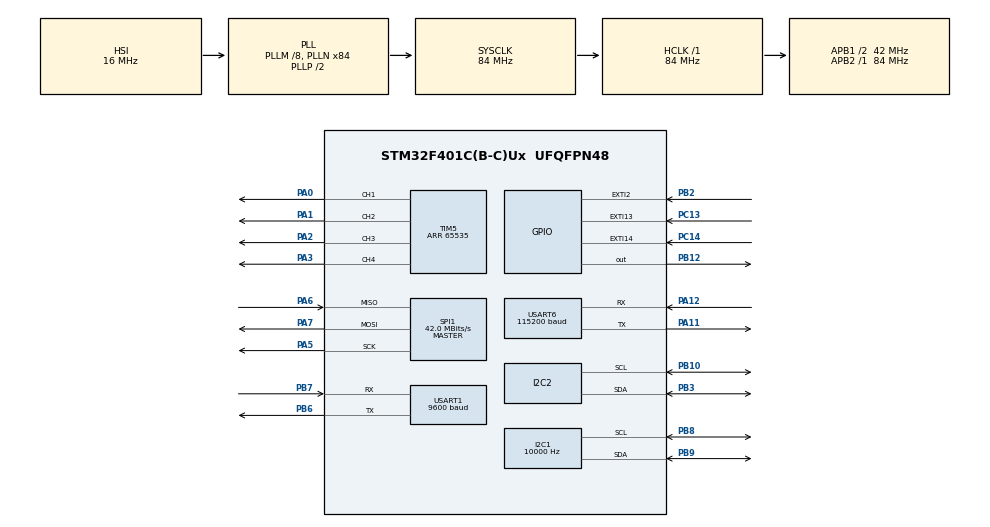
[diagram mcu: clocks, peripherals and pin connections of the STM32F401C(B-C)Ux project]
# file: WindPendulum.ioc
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Dma.Request0=USART1_RX
Dma.Request1=USART6_RX
Dma.USART1_RX.0.Direction=DMA_PERIPH_TO_MEMORY
Dma.USART1_RX.0.FIFOMode=DMA_FIFOMODE_DISABLE
Dma.USART1_RX.0.Instance=DMA2_Stream2
Dma.USART1_RX.0.MemDataAlignment=DMA_MDATAALIGN_BYTE
Dma.USART1_RX.0.MemInc=DMA_MINC_ENABLE
Dma.USART1_RX.0.Mode=DMA_NORMAL
Dma.USART1_RX.0.PeriphDataAlignment=DMA_PDATAALIGN_BYTE
Dma.USART1_RX.0.PeriphInc=DMA_PINC_DISABLE
Dma.USART1_RX.0.Priority=DMA_PRIORITY_LOW
Dma.USART6_RX.1.Direction=DMA_PERIPH_TO_MEMORY
Dma.USART6_RX.1.FIFOMode=DMA_FIFOMODE_DISABLE
Dma.USART6_RX.1.Instance=DMA2_Stream1
Dma.USART6_RX.1.MemDataAlignment=DMA_MDATAALIGN_BYTE
Dma.USART6_RX.1.MemInc=DMA_MINC_ENABLE
Dma.USART6_RX.1.Mode=DMA_NORMAL
Dma.USART6_RX.1.PeriphDataAlignment=DMA_PDATAALIGN_BYTE
Dma.USART6_RX.1.PeriphInc=DMA_PINC_DISABLE
Dma.USART6_RX.1.Priority=DMA_PRIORITY_MEDIUM
FREERTOS.Mutexes01=pidStatusMutex,Dynamic,NULL
FREERTOS.Queues01=btUartRxQueue,1,64,1,Dynamic,NULL,NULL;sensorUartRxQueue,1,64,1,Dynamic,NULL,NULL
FREERTOS.Tasks01=logicTask,24,128,StartLogicTask,Default,NULL,Dynamic,NULL,NULL;pidTask,24,256,StartPIDTask,Default,NULL,Dynamic,NULL,NULL;displayTask,8,512,StartDisplayTask,Default,NULL,Dynamic,NULL,NULL;sampleTask,55,512,StartSampleTask,Default,NULL,Dynamic,NULL,NULL;uartHandlerTask,8,512,StartUartHandlerTask,Default,NULL,Dynamic,NULL,NULL;periodTask,24,128,StartPeriodControlTask,Default,NULL,Dynamic,NULL,NULL
FREERTOS.configENABLE_FPU=1
I2C1.ClockSpeed=10000
I2C1.I2C_Mode=I2C_Standard
I2C2.I2C_Mode=I2C_Fast
Mcu.Family=STM32F4
Mcu.Name=STM32F401C(B-C)Ux
Mcu.Package=UFQFPN48
NVIC.DMA2_Stream1_IRQn=true\:5\:0\:false\:false\:true\:true\:false\:true
NVIC.DMA2_Stream2_IRQn=true\:5\:0\:false\:false\:true\:true\:false\:true
NVIC.EXTI15_10_IRQn=true\:5\:0\:false\:false\:true\:true\:true\:true
NVIC.EXTI2_IRQn=true\:5\:0\:false\:false\:true\:true\:true\:true
NVIC.PriorityGroup=NVIC_PRIORITYGROUP_4
NVIC.TIM1_TRG_COM_TIM11_IRQn=true\:0\:0\:false\:false\:true\:false\:false\:true
NVIC.TimeBase=TIM1_TRG_COM_TIM11_IRQn
NVIC.TimeBaseIP=TIM11
NVIC.USART1_IRQn=true\:5\:0\:false\:false\:true\:true\:true\:true
NVIC.USART6_IRQn=true\:5\:0\:false\:false\:true\:true\:true\:true
PA0-WKUP.Signal=S_TIM5_CH1
PA1.Signal=S_TIM5_CH2
PA11.Mode=Asynchronous
PA11.Signal=USART6_TX
PA12.Mode=Asynchronous
PA12.Signal=USART6_RX
PA13.Mode=Serial_Wire
PA13.Signal=SYS_JTMS-SWDIO
PA14.Mode=Serial_Wire
PA14.Signal=SYS_JTCK-SWCLK
PA2.Signal=S_TIM5_CH3
PA3.Signal=S_TIM5_CH4
PA5.Mode=Full_Duplex_Master
PA5.Signal=SPI1_SCK
PA6.Mode=Full_Duplex_Master
PA6.Signal=SPI1_MISO
PA7.Mode=Full_Duplex_Master
PA7.Signal=SPI1_MOSI
PB10.Mode=I2C
PB10.Signal=I2C2_SCL
PB12.Signal=GPIO_Output
PB2.GPIO_PuPd=GPIO_PULLUP
PB2.Signal=GPXTI2
PB3.Mode=I2C
PB3.Signal=I2C2_SDA
PB6.Mode=Asynchronous
PB6.Signal=USART1_TX
PB7.Mode=Asynchronous
PB7.Signal=USART1_RX
PB8.Mode=I2C
PB8.Signal=I2C1_SCL
PB9.Mode=I2C
PB9.Signal=I2C1_SDA
PC13-ANTI_TAMP.GPIO_PuPd=GPIO_PULLUP
PC13-ANTI_TAMP.Signal=GPXTI13
PC14-OSC32_IN.GPIO_PuPd=GPIO_PULLUP
PC14-OSC32_IN.Signal=GPXTI14
PH0\ -\ OSC_IN.Mode=HSE-External-Oscillator
PH0\ -\ OSC_IN.Signal=RCC_OSC_IN
PH1\ -\ OSC_OUT.Mode=HSE-External-Oscillator
PH1\ -\ OSC_OUT.Signal=RCC_OSC_OUT
ProjectManager.HeapSize=0x200
ProjectManager.StackSize=0x400
ProjectManager.TargetToolchain=STM32CubeIDE
RCC.48MHZClocksFreq_Value=42000000
RCC.AHBFreq_Value=84000000
RCC.APB1CLKDivider=RCC_HCLK_DIV2
RCC.APB1Freq_Value=42000000
RCC.APB1TimFreq_Value=84000000
RCC.APB2Freq_Value=84000000
RCC.APB2TimFreq_Value=84000000
RCC.CortexFreq_Value=84000000
RCC.HCLKFreq_Value=84000000
RCC.HSE_VALUE=25000000
RCC.HSI_VALUE=16000000
RCC.LSE_VALUE=32768
RCC.PLLM=8
RCC.PLLN=84
RCC.SYSCLKFreq_VALUE=84000000
RCC.SYSCLKSource=RCC_SYSCLKSOURCE_PLLCLK
RCC.VCOOutputFreq_Value=168000000
SH.S_TIM5_CH1.0=TIM5_CH1,PWM Generation1 CH1
SH.S_TIM5_CH2.0=TIM5_CH2,PWM Generation2 CH2
SH.S_TIM5_CH3.0=TIM5_CH3,PWM Generation3 CH3
SH.S_TIM5_CH4.0=TIM5_CH4,PWM Generation4 CH4
SPI1.CalculateBaudRate=42.0 MBits/s
SPI1.Direction=SPI_DIRECTION_2LINES
SPI1.Mode=SPI_MODE_MASTER
SPI1.VirtualType=VM_MASTER
TIM5.Channel-PWM\ Generation1\ CH1=TIM_CHANNEL_1
TIM5.Channel-PWM\ Generation2\ CH2=TIM_CHANNEL_2
TIM5.Channel-PWM\ Generation3\ CH3=TIM_CHANNEL_3
TIM5.Channel-PWM\ Generation4\ CH4=TIM_CHANNEL_4
TIM5.Period=65535
TIM5.Pulse-PWM\ Generation3\ CH3=0
TIM5.Pulse-PWM\ Generation4\ CH4=0
USART1.BaudRate=9600
USART1.VirtualMode=VM_ASYNC
USART6.BaudRate=115200
USART6.VirtualMode=VM_ASYNC
VP_FREERTOS_VS_CMSIS_V2.Mode=CMSIS_V2
VP_SYS_VS_tim11.Mode=TIM11
VP_TIM5_VS_ClockSourceINT.Mode=Internal
board=custom

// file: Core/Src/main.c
/* USER CODE BEGIN Header */
/**
  ******************************************************************************
  * @file           : main.c
  * @brief          : Main program body
  ******************************************************************************
  * @attention
  *
  * <h2><center>&copy; Copyright (c) 2021 STMicroelectronics.
  * All rights reserved.</center></h2>
  *
  * This software component is licensed by ST under Ultimate Liberty license
  * SLA0044, the "License"; You may not use this file except in compliance with
  * the License. You may obtain a copy of the License at:
  *                             www.st.com/SLA0044
  *
  ******************************************************************************
  */
/* USER CODE END Header */
#include "main.h"
#include "cmsis_os.h"

/* USER CODE BEGIN Includes */
#include "memory.h"
#include "stdio.h"
#include "math.h"

#include "stm32f4xx_hal_u8g2.h"
#include "mpu6050.h"
#include "pid.h"
/* USER CODE END Includes */

/* USER CODE BEGIN PTD */

typedef enum {
  Success, Failure
} UARTControlResult;

/* USER CODE END PTD */

/* USER CODE BEGIN PD */

#define MPU6050 0
#define GY955 1

#define SAMPLE_PROVIDER GY955 //角速度提供者

#define SEND_INFO 0 //是否向上位机发送状态信息

/* USER CODE END PD */

I2C_HandleTypeDef hi2c1;
I2C_HandleTypeDef hi2c2;

SPI_HandleTypeDef hspi1;

TIM_HandleTypeDef htim5;

UART_HandleTypeDef huart1;
UART_HandleTypeDef huart6;
DMA_HandleTypeDef hdma_usart1_rx;
DMA_HandleTypeDef hdma_usart6_rx;

/* Definitions for logicTask */
osThreadId_t logicTaskHandle;
const osThreadAttr_t logicTask_attributes = {
  .name = "logicTask",
  .stack_size = 128 * 4,
  .priority = (osPriority_t) osPriorityNormal,
};
/* Definitions for pidTask */
osThreadId_t pidTaskHandle;
const osThreadAttr_t pidTask_attributes = {
  .name = "pidTask",
  .stack_size = 256 * 4,
  .priority = (osPriority_t) osPriorityNormal,
};
/* Definitions for displayTask */
osThreadId_t displayTaskHandle;
const osThreadAttr_t displayTask_attributes = {
  .name = "displayTask",
  .stack_size = 512 * 4,
  .priority = (osPriority_t) osPriorityLow,
};
/* Definitions for sampleTask */
osThreadId_t sampleTaskHandle;
const osThreadAttr_t sampleTask_attributes = {
  .name = "sampleTask",
  .stack_size = 512 * 4,
  .priority = (osPriority_t) osPriorityRealtime7,
};
/* Definitions for uartHandlerTask */
osThreadId_t uartHandlerTaskHandle;
const osThreadAttr_t uartHandlerTask_attributes = {
  .name = "uartHandlerTask",
  .stack_size = 512 * 4,
  .priority = (osPriority_t) osPriorityLow,
};
/* Definitions for periodTask */
osThreadId_t periodTaskHandle;
const osThreadAttr_t periodTask_attributes = {
  .name = "periodTask",
  .stack_size = 128 * 4,
  .priority = (osPriority_t) osPriorityNormal,
};
/* Definitions for btUartRxQueue */
osMessageQueueId_t btUartRxQueueHandle;
const osMessageQueueAttr_t btUartRxQueue_attributes = {
  .name = "btUartRxQueue"
};
/* Definitions for sensorUartRxQueue */
osMessageQueueId_t sensorUartRxQueueHandle;
const osMessageQueueAttr_t sensorUartRxQueue_attributes = {
  .name = "sensorUartRxQueue"
};
/* Definitions for pidStatusMutex */
osMutexId_t pidStatusMutexHandle;
const osMutexAttr_t pidStatusMutex_attributes = {
  .name = "pidStatusMutex"
};
/* USER CODE BEGIN PV */
char sprintfBuffer[64];
char uart1RxBuffer[UART1_RX_BUFFER_SIZE];
char uart6RxBuffer[UART6_RX_BUFFER_SIZE];

u8g2_t u8g2;
static MPU6050_t mpu6050;
PIDController pidX = {
    .T = 0.1f,
    .Kp = 0.025f,
    .Ti = 0.8f,
    .Td = 0.075f,
    .limMax = 1.0f,
    .limMin = -1.0f,
    .limMaxInt = 0.5f,
    .limMinInt = -0.5f,
}, pidY;

float rotX, rotY;
float thetaX, thetaY;
float targetThetaX = .0f, targetThetaY = .0f;
float vPeekX = .0f, vPeekY = .0f;
float phiX = .0f, phiY = .0f;

/* USER CODE END PV */

void SystemClock_Config(void);
static void MX_GPIO_Init(void);
static void MX_DMA_Init(void);
static void MX_I2C1_Init(void);
static void MX_SPI1_Init(void);
static void MX_TIM5_Init(void);
static void MX_USART1_UART_Init(void);
static void MX_I2C2_Init(void);
static void MX_USART6_UART_Init(void);
void StartLogicTask(void *argument);
void StartPIDTask(void *argument);
void StartDisplayTask(void *argument);
void StartSampleTask(void *argument);
void StartUartHandlerTask(void *argument);
void StartPeriodControlTask(void *argument);

/* USER CODE BEGIN PFP */

void SetPIDParameters(float t, float kp, float ki, float kd) {
  pidX.T = pidY.T = t;
  pidX.Kp = pidY.Kp = kp;
  pidX.Ti = pidY.Ti = ki;
  pidX.Td = pidY.Td = kd;
}

/* USER CODE END PFP */

int main(void)
{

  /* MCU Configuration--------------------------------------------------------*/

  /* Reset of all peripherals, Initializes the Flash interface and the Systick. */
  HAL_Init();

  /* Configure the system clock */
  SystemClock_Config();

  /* Initialize all configured peripherals */
  MX_GPIO_Init();
  MX_DMA_Init();
  MX_I2C1_Init();
  MX_SPI1_Init();
  MX_TIM5_Init();
  MX_USART1_UART_Init();
  MX_I2C2_Init();
  MX_USART6_UART_Init();

  /* Init scheduler */
  osKernelInitialize();
  /* Create the mutex(es) */
  /* creation of pidStatusMutex */
  pidStatusMutexHandle = osMutexNew(&pidStatusMutex_attributes);

  /* Create the queue(s) */
  /* creation of btUartRxQueue */
  btUartRxQueueHandle = osMessageQueueNew (1, 64, &btUartRxQueue_attributes);

  /* creation of sensorUartRxQueue */
  sensorUartRxQueueHandle = osMessageQueueNew (1, 64, &sensorUartRxQueue_attributes);

  /* Create the thread(s) */
  /* creation of logicTask */
  logicTaskHandle = osThreadNew(StartLogicTask, NULL, &logicTask_attributes);

  /* creation of pidTask */
  pidTaskHandle = osThreadNew(StartPIDTask, NULL, &pidTask_attributes);

  /* creation of displayTask */
  displayTaskHandle = osThreadNew(StartDisplayTask, NULL, &displayTask_attributes);

  /* creation of sampleTask */
  sampleTaskHandle = osThreadNew(StartSampleTask, NULL, &sampleTask_attributes);

  /* creation of uartHandlerTask */
  uartHandlerTaskHandle = osThreadNew(StartUartHandlerTask, NULL, &uartHandlerTask_attributes);

  /* creation of periodTask */
  periodTaskHandle = osThreadNew(StartPeriodControlTask, NULL, &periodTask_attributes);

  /* Start scheduler */
  osKernelStart();

  /* We should never get here as control is now taken by the scheduler */
  /* Infinite loop */
  while (1) {

  }
}

void SystemClock_Config(void)
{
  RCC_OscInitTypeDef RCC_OscInitStruct = {0};
  RCC_ClkInitTypeDef RCC_ClkInitStruct = {0};

  /** Configure the main internal regulator output voltage
  */
  __HAL_RCC_PWR_CLK_ENABLE();
  __HAL_PWR_VOLTAGESCALING_CONFIG(PWR_REGULATOR_VOLTAGE_SCALE2);
  /** Initializes the RCC Oscillators according to the specified parameters
  * in the RCC_OscInitTypeDef structure.
  */
  RCC_OscInitStruct.OscillatorType = RCC_OSCILLATORTYPE_HSI;
  RCC_OscInitStruct.HSIState = RCC_HSI_ON;
  RCC_OscInitStruct.HSICalibrationValue = RCC_HSICALIBRATION_DEFAULT;
  RCC_OscInitStruct.PLL.PLLState = RCC_PLL_ON;
  RCC_OscInitStruct.PLL.PLLSource = RCC_PLLSOURCE_HSI;
  RCC_OscInitStruct.PLL.PLLM = 8;
  RCC_OscInitStruct.PLL.PLLN = 84;
  RCC_OscInitStruct.PLL.PLLP = RCC_PLLP_DIV2;
  RCC_OscInitStruct.PLL.PLLQ = 4;
  if (HAL_RCC_OscConfig(&RCC_OscInitStruct) != HAL_OK)
  {
    Error_Handler();
  }
  /** Initializes the CPU, AHB and APB buses clocks
  */
  RCC_ClkInitStruct.ClockType = RCC_CLOCKTYPE_HCLK|RCC_CLOCKTYPE_SYSCLK
                              |RCC_CLOCKTYPE_PCLK1|RCC_CLOCKTYPE_PCLK2;
  RCC_ClkInitStruct.SYSCLKSource = RCC_SYSCLKSOURCE_PLLCLK;
  RCC_ClkInitStruct.AHBCLKDivider = RCC_SYSCLK_DIV1;
  RCC_ClkInitStruct.APB1CLKDivider = RCC_HCLK_DIV2;
  RCC_ClkInitStruct.APB2CLKDivider = RCC_HCLK_DIV1;

  if (HAL_RCC_ClockConfig(&RCC_ClkInitStruct, FLASH_LATENCY_2) != HAL_OK)
  {
    Error_Handler();
  }
}

static void MX_I2C1_Init(void)
{

  hi2c1.Instance = I2C1;
  hi2c1.Init.ClockSpeed = 10000;
  hi2c1.Init.DutyCycle = I2C_DUTYCYCLE_2;
  hi2c1.Init.OwnAddress1 = 0;
  hi2c1.Init.AddressingMode = I2C_ADDRESSINGMODE_7BIT;
  hi2c1.Init.DualAddressMode = I2C_DUALADDRESS_DISABLE;
  hi2c1.Init.OwnAddress2 = 0;
  hi2c1.Init.GeneralCallMode = I2C_GENERALCALL_DISABLE;
  hi2c1.Init.NoStretchMode = I2C_NOSTRETCH_DISABLE;
  if (HAL_I2C_Init(&hi2c1) != HAL_OK)
  {
    Error_Handler();
  }

}

static void MX_I2C2_Init(void)
{

  hi2c2.Instance = I2C2;
  hi2c2.Init.ClockSpeed = 400000;
  hi2c2.Init.DutyCycle = I2C_DUTYCYCLE_2;
  hi2c2.Init.OwnAddress1 = 0;
  hi2c2.Init.AddressingMode = I2C_ADDRESSINGMODE_7BIT;
  hi2c2.Init.DualAddressMode = I2C_DUALADDRESS_DISABLE;
  hi2c2.Init.OwnAddress2 = 0;
  hi2c2.Init.GeneralCallMode = I2C_GENERALCALL_DISABLE;
  hi2c2.Init.NoStretchMode = I2C_NOSTRETCH_DISABLE;
  if (HAL_I2C_Init(&hi2c2) != HAL_OK)
  {
    Error_Handler();
  }

}

static void MX_SPI1_Init(void)
{

  /* SPI1 parameter configuration*/
  hspi1.Instance = SPI1;
  hspi1.Init.Mode = SPI_MODE_MASTER;
  hspi1.Init.Direction = SPI_DIRECTION_2LINES;
  hspi1.Init.DataSize = SPI_DATASIZE_8BIT;
  hspi1.Init.CLKPolarity = SPI_POLARITY_LOW;
  hspi1.Init.CLKPhase = SPI_PHASE_1EDGE;
  hspi1.Init.NSS = SPI_NSS_SOFT;
  hspi1.Init.BaudRatePrescaler = SPI_BAUDRATEPRESCALER_2;
  hspi1.Init.FirstBit = SPI_FIRSTBIT_MSB;
  hspi1.Init.TIMode = SPI_TIMODE_DISABLE;
  hspi1.Init.CRCCalculation = SPI_CRCCALCULATION_DISABLE;
  hspi1.Init.CRCPolynomial = 10;
  if (HAL_SPI_Init(&hspi1) != HAL_OK)
  {
    Error_Handler();
  }

}

static void MX_TIM5_Init(void)
{

  TIM_ClockConfigTypeDef sClockSourceConfig = {0};
  TIM_MasterConfigTypeDef sMasterConfig = {0};
  TIM_OC_InitTypeDef sConfigOC = {0};

  htim5.Instance = TIM5;
  htim5.Init.Prescaler = 0;
  htim5.Init.CounterMode = TIM_COUNTERMODE_UP;
  htim5.Init.Period = 65535;
  htim5.Init.ClockDivision = TIM_CLOCKDIVISION_DIV1;
  htim5.Init.AutoReloadPreload = TIM_AUTORELOAD_PRELOAD_DISABLE;
  if (HAL_TIM_Base_Init(&htim5) != HAL_OK)
  {
    Error_Handler();
  }
  sClockSourceConfig.ClockSource = TIM_CLOCKSOURCE_INTERNAL;
  if (HAL_TIM_ConfigClockSource(&htim5, &sClockSourceConfig) != HAL_OK)
  {
    Error_Handler();
  }
  if (HAL_TIM_PWM_Init(&htim5) != HAL_OK)
  {
    Error_Handler();
  }
  sMasterConfig.MasterOutputTrigger = TIM_TRGO_RESET;
  sMasterConfig.MasterSlaveMode = TIM_MASTERSLAVEMODE_DISABLE;
  if (HAL_TIMEx_MasterConfigSynchronization(&htim5, &sMasterConfig) != HAL_OK)
  {
    Error_Handler();
  }
  sConfigOC.OCMode = TIM_OCMODE_PWM1;
  sConfigOC.Pulse = 0;
  sConfigOC.OCPolarity = TIM_OCPOLARITY_HIGH;
  sConfigOC.OCFastMode = TIM_OCFAST_DISABLE;
  if (HAL_TIM_PWM_ConfigChannel(&htim5, &sConfigOC, TIM_CHANNEL_1) != HAL_OK)
  {
    Error_Handler();
  }
  if (HAL_TIM_PWM_ConfigChannel(&htim5, &sConfigOC, TIM_CHANNEL_2) != HAL_OK)
  {
    Error_Handler();
  }
  if (HAL_TIM_PWM_ConfigChannel(&htim5, &sConfigOC, TIM_CHANNEL_3) != HAL_OK)
  {
    Error_Handler();
  }
  if (HAL_TIM_PWM_ConfigChannel(&htim5, &sConfigOC, TIM_CHANNEL_4) != HAL_OK)
  {
    Error_Handler();
  }
  HAL_TIM_MspPostInit(&htim5);

}

static void MX_USART1_UART_Init(void)
{

  huart1.Instance = USART1;
  huart1.Init.BaudRate = 9600;
  huart1.Init.WordLength = UART_WORDLENGTH_8B;
  huart1.Init.StopBits = UART_STOPBITS_1;
  huart1.Init.Parity = UART_PARITY_NONE;
  huart1.Init.Mode = UART_MODE_TX_RX;
  huart1.Init.HwFlowCtl = UART_HWCONTROL_NONE;
  huart1.Init.OverSampling = UART_OVERSAMPLING_16;
  if (HAL_UART_Init(&huart1) != HAL_OK)
  {
    Error_Handler();
  }
  /* USER CODE BEGIN USART1_Init 2 */
  __HAL_UART_ENABLE_IT(&huart1, UART_IT_IDLE);
  HAL_UART_Receive_DMA(&huart1, uart1RxBuffer, UART1_RX_BUFFER_SIZE);
  /* USER CODE END USART1_Init 2 */

}

static void MX_USART6_UART_Init(void)
{

  huart6.Instance = USART6;
  huart6.Init.BaudRate = 115200;
  huart6.Init.WordLength = UART_WORDLENGTH_8B;
  huart6.Init.StopBits = UART_STOPBITS_1;
  huart6.Init.Parity = UART_PARITY_NONE;
  huart6.Init.Mode = UART_MODE_TX_RX;
  huart6.Init.HwFlowCtl = UART_HWCONTROL_NONE;
  huart6.Init.OverSampling = UART_OVERSAMPLING_16;
  if (HAL_UART_Init(&huart6) != HAL_OK)
  {
    Error_Handler();
  }

}

static void MX_DMA_Init(void)
{

  /* DMA controller clock enable */
  __HAL_RCC_DMA2_CLK_ENABLE();

  /* DMA interrupt init */
  /* DMA2_Stream1_IRQn interrupt configuration */
  HAL_NVIC_SetPriority(DMA2_Stream1_IRQn, 5, 0);
  HAL_NVIC_EnableIRQ(DMA2_Stream1_IRQn);
  /* DMA2_Stream2_IRQn interrupt configuration */
  HAL_NVIC_SetPriority(DMA2_Stream2_IRQn, 5, 0);
  HAL_NVIC_EnableIRQ(DMA2_Stream2_IRQn);

}

static void MX_GPIO_Init(void)
{
  GPIO_InitTypeDef GPIO_InitStruct = {0};

  /* GPIO Ports Clock Enable */
  __HAL_RCC_GPIOC_CLK_ENABLE();
  __HAL_RCC_GPIOH_CLK_ENABLE();
  __HAL_RCC_GPIOA_CLK_ENABLE();
  __HAL_RCC_GPIOB_CLK_ENABLE();

  /*Configure GPIO pin Output Level */
  HAL_GPIO_WritePin(GPIOB, GPIO_PIN_12, GPIO_PIN_RESET);

  /*Configure GPIO pins : PC13 PC14 */
  GPIO_InitStruct.Pin = GPIO_PIN_13|GPIO_PIN_14;
  GPIO_InitStruct.Mode = GPIO_MODE_IT_RISING;
  GPIO_InitStruct.Pull = GPIO_PULLUP;
  HAL_GPIO_Init(GPIOC, &GPIO_InitStruct);

  /*Configure GPIO pin : PB2 */
  GPIO_InitStruct.Pin = GPIO_PIN_2;
  GPIO_InitStruct.Mode = GPIO_MODE_IT_RISING;
  GPIO_InitStruct.Pull = GPIO_PULLUP;
  HAL_GPIO_Init(GPIOB, &GPIO_InitStruct);

  /*Configure GPIO pin : PB12 */
  GPIO_InitStruct.Pin = GPIO_PIN_12;
  GPIO_InitStruct.Mode = GPIO_MODE_OUTPUT_PP;
  GPIO_InitStruct.Pull = GPIO_NOPULL;
  GPIO_InitStruct.Speed = GPIO_SPEED_FREQ_LOW;
  HAL_GPIO_Init(GPIOB, &GPIO_InitStruct);

  /* EXTI interrupt init*/
  HAL_NVIC_SetPriority(EXTI2_IRQn, 5, 0);
  HAL_NVIC_EnableIRQ(EXTI2_IRQn);

  HAL_NVIC_SetPriority(EXTI15_10_IRQn, 5, 0);
  HAL_NVIC_EnableIRQ(EXTI15_10_IRQn);

}

/* USER CODE BEGIN 4 */

float degToRad(float degree) {
  return degree / 57.295779513f;
}

float radToDeg(float rad) {
  return rad * 57.295779513f;
}

float getPeekV(float d) {
  const float L = 0.54f, H = 0.79f, g = 9.79f;
  return radToDeg(sqrtf(2.0f) * sqrtf(g / L - sqrtf(g * g * L * L * (H * H - d * d)) / (H * L * L)));
}

/* USER CODE END 4 */

void StartLogicTask(void *argument)
{
  /* USER CODE BEGIN 5 */
  for( ;; ) {
    for(float d = 0.05f; d <= 0.60f; d += 0.05f) {
      vPeekX = getPeekV(d);
      vPeekY = .0f;
      osDelayUntil(osKernelGetTickCount() + pdMS_TO_TICKS(5000));
    }
  }
  /* USER CODE END 5 */
}

void StartPIDTask(void *argument)
{
  /* USER CODE BEGIN StartPIDTask */
  PIDController_Init(&pidX);
  PIDController_Init(&pidY);
  pidY = pidX;

  HAL_TIM_PWM_Start(&htim5, TIM_CHANNEL_1);
  HAL_TIM_PWM_Start(&htim5, TIM_CHANNEL_2);
  HAL_TIM_PWM_Start(&htim5, TIM_CHANNEL_3);
  HAL_TIM_PWM_Start(&htim5, TIM_CHANNEL_4);

  /* Infinite loop */
  for (;;) {
    osDelayUntil(osKernelGetTickCount() + pdMS_TO_TICKS((int) (pidX.T * 1000.0f)));
    if (osMutexAcquire(pidStatusMutexHandle, 100) == osOK) {
      PIDController_Update(&pidX, targetThetaX, thetaX);
      PIDController_Update(&pidY, targetThetaY, thetaY);
      __HAL_TIM_SET_COMPARE(&htim5, TIM_CHANNEL_1, (uint16_t) ((float) UINT16_MAX * fmaxf(pidX.out, .0f)));
      __HAL_TIM_SET_COMPARE(&htim5, TIM_CHANNEL_2, (uint16_t) ((float) UINT16_MAX * fmaxf(-pidX.out, .0f)));
      __HAL_TIM_SET_COMPARE(&htim5, TIM_CHANNEL_3, (uint16_t) ((float) UINT16_MAX * fmaxf(-pidY.out, .0f)));
      __HAL_TIM_SET_COMPARE(&htim5, TIM_CHANNEL_4, (uint16_t) ((float) UINT16_MAX * fmaxf(pidY.out, .0f)));
      osMutexRelease(pidStatusMutexHandle);
    }
  }
  /* USER CODE END StartPIDTask */
}

void StartDisplayTask(void *argument)
{
  /* USER CODE BEGIN StartDisplayTask */
  u8g2_Setup_ssd1306_i2c_128x64_noname_f(&u8g2, U8G2_R0, u8x8_byte_stm32_hw_i2c, u8x8_stm32_gpio_and_delay);
  u8g2_InitDisplay(&u8g2);
  u8g2_SetPowerSave(&u8g2, 0);
  u8g2_SetFont(&u8g2, u8g2_font_courB10_tr);
  u8g2_SetFontRefHeightExtendedText(&u8g2);
  u8g2_SetDrawColor(&u8g2, 1);
  u8g2_SetFontPosTop(&u8g2);
  u8g2_SetFontDirection(&u8g2, 0);
  /* Infinite loop */
  for (;;) {
    u8g2_FirstPage(&u8g2);
    do {
      sprintf(sprintfBuffer, "THX: %7.02f", thetaX);
      u8g2_DrawStr(&u8g2, 0, 0, sprintfBuffer);
      sprintf(sprintfBuffer, "THY: %7.02f", thetaY);
      u8g2_DrawStr(&u8g2, 0, 11, sprintfBuffer);
      sprintf(sprintfBuffer, "PIDX: %7.02f%%", pidX.out * 100.0f);
      u8g2_DrawStr(&u8g2, 0, 22, sprintfBuffer);
      sprintf(sprintfBuffer, "PIDY: %7.02f%%", pidY.out * 100.0f);
      u8g2_DrawStr(&u8g2, 0, 33, sprintfBuffer);
    } while (u8g2_NextPage(&u8g2));
    osDelay(pdMS_TO_TICKS(10));
  }

  /* USER CODE END StartDisplayTask */
}

void StartSampleTask(void *argument)
{
  /* USER CODE BEGIN StartSampleTask */
#if SAMPLE_PROVIDER == GY955
  uint8_t txBuffer[3] = {0xAA, 0b10101100,};
  txBuffer[2] = txBuffer[0] + txBuffer[1];
  HAL_UART_Transmit(&huart6, txBuffer, sizeof(txBuffer), 100); //初始化为仅欧拉角的连续测量
  uint8_t rxBuffer[UART6_RX_BUFFER_SIZE];
  uint8_t *rxPtrEnd = rxBuffer + UART6_RX_BUFFER_SIZE;
  __HAL_UART_ENABLE_IT(&huart6, UART_IT_IDLE);
  HAL_UART_Receive_DMA(&huart6, uart6RxBuffer, UART6_RX_BUFFER_SIZE);
  for (;;) {
//    触发测量
//    txBuffer[0] = 0xA5;
//    txBuffer[1] = 0x45;
//    txBuffer[2] = txBuffer[0] + txBuffer[1];
//    HAL_UART_Transmit(&huart6, txBuffer, sizeof(txBuffer), 100);

    if (osMessageQueueGet(sensorUartRxQueueHandle, rxBuffer, NULL, 100) == osOK) { //等待串口收到数据
      uint8_t *rxPtr = rxBuffer;
      for (;;) {
        while (rxPtr < rxPtrEnd && *rxPtr++ != 0x5A); //Byte 0：0x5A 由于未知原因，在连续发送模式下接收到的第一位不一定是0x5A，需要忽略之前的所有数据
        if (*rxPtr++ != 0x5A || rxPtr + 2 >= rxPtrEnd) break; //Byte 1：0x5A
        uint8_t type = *rxPtr++; //Byte 2：类型
        size_t remainder = *rxPtr++; //Byte 3：除去校验位剩下的位数
        if (rxPtr + remainder >= rxPtrEnd) break;
        uint8_t check = 0x5A * 2 + type + remainder; // 校验位
        for (uint8_t *checkPtr = rxPtr; checkPtr < rxPtr + remainder; checkPtr++) check += *checkPtr;
        if (check != rxPtr[remainder]) continue;
        if (type & 0x01) {
          float accX = (float) (int16_t) ((rxPtr[0] << 8) | rxPtr[1]);
          float accY = (float) (int16_t) ((rxPtr[2] << 8) | rxPtr[3]);
          float accZ = (float) (int16_t) ((rxPtr[4] << 8) | rxPtr[5]);
          rxPtr += 6;
        }
        if (type & 0x02) {
          float magX = (float) (int16_t) ((rxPtr[0] << 8) | rxPtr[1]) / 16.0f;
          float magY = (float) (int16_t) ((rxPtr[2] << 8) | rxPtr[3]) / 16.0f;
          float magZ = (float) (int16_t) ((rxPtr[4] << 8) | rxPtr[5]) / 16.0f;
          rxPtr += 6;
        }
        if (type & 0x04) {
          float gyrX = (float) (int16_t) ((rxPtr[0] << 8) | rxPtr[1]) / 16.0f;
          float gyrY = (float) (int16_t) ((rxPtr[2] << 8) | rxPtr[3]) / 16.0f;
          float gyrZ = (float) (int16_t) ((rxPtr[4] << 8) | rxPtr[5]) / 16.0f;
          thetaX = gyrX;
          thetaY = gyrY;
          rxPtr += 6;
        }
        if (type & 0x08) { // 欧拉角
          float yaw = (float) (uint16_t) ((rxPtr[0] << 8) | rxPtr[1]) / 100.0f;
          float roll = (float) (int16_t) ((rxPtr[2] << 8) | rxPtr[3]) / 100.0f;
          float pitch = (float) (int16_t) ((rxPtr[4] << 8) | rxPtr[5]) / 100.0f;
          rotX = roll;
          rotY = pitch;
          rxPtr += 6;
        }
        if (type & 0x10) {
          float q1 = (float) (int16_t) ((rxPtr[0] << 8) | rxPtr[1]) / 10000.0f;
          float q2 = (float) (int16_t) ((rxPtr[2] << 8) | rxPtr[3]) / 10000.0f;
          float q3 = (float) (int16_t) ((rxPtr[4] << 8) | rxPtr[5]) / 10000.0f;
          float q4 = (float) (int16_t) ((rxPtr[6] << 8) | rxPtr[7]) / 10000.0f;
          rxPtr += 8;
        }
        rxPtr++; //跳过校验位
      }
      memset(rxBuffer, 0x00, sizeof(rxBuffer));
    }
  }
#endif
#if SAMPLE_PROVIDER == MPU6050
  while(MPU6050_Init(&hi2c1));
  for( ;; ) {
    MPU6050_Read_All(&hi2c1, &mpu6050);
    thetaX = mpu6050.Gx;
    thetaY = mpu6050.Gy;
    rotX = mpu6050.KalmanAngleX;
    rotY = mpu6050.KalmanAngleY;
    osDelayUntil(osKernelGetTickCount() + pdMS_TO_TICKS(10));
  }
#endif
  /* USER CODE END StartSampleTask */
}

void StartUartHandlerTask(void *argument)
{
  /* USER CODE BEGIN StartUartHandlerTask */
  char rxBuffer[UART1_RX_BUFFER_SIZE];
  float T, Kp, Ki, Kd, vx, vy;
#if SEND_INFO
  uint8_t txBuffer[64];
  /* Infinite loop */
  for(;;)
  {
    uint8_t *txPtr = txBuffer;
    *txPtr++ = 0x03;
    *txPtr++ = 0xFC;
    *txPtr++ = (uint8_t)(thetaX / 180.0f * UINT8_MAX);
    *txPtr++ = (uint8_t)(thetaY / 180.0f * UINT8_MAX);
    *txPtr++ = (uint8_t)(targetThetaX / 180.0f * UINT8_MAX);
    *txPtr++ = (uint8_t)(targetThetaY / 180.0f * UINT8_MAX);
    *txPtr++ = 0xFC;
    *txPtr++ = 0x03;

    HAL_UART_Transmit(&huart1, txBuffer, txPtr - txBuffer, 10);
#else
  for (;;) {
#endif
    if (osMessageQueueGet(btUartRxQueueHandle, rxBuffer, NULL, 100) == osOK &&
        osMutexAcquire(pidStatusMutexHandle, 100) == osOK) {
      if (sscanf(rxBuffer, "%f,%f:%f,%f,%f,%f", &vx, &vy, &Kp, &Ki, &Kd, &T) == 6) {
        SetPIDParameters(T, Kp, Ki, Kd);
        vPeekX = vx;
        vPeekY = vy;
        PIDController_Init(&pidX);
        PIDController_Init(&pidY);
      }
      memset(rxBuffer, 0x00, sizeof(rxBuffer));
      osMutexRelease(pidStatusMutexHandle);
    }
  }
  /* USER CODE END StartUartHandlerTask */
}

void StartPeriodControlTask(void *argument)
{
  /* USER CODE BEGIN StartPeriodControlTask */
  /* Infinite loop */
  const float T = 1.333333333f, deltaT = 0.01f;
  float tx, ty;
  sin(M_PI * 2);
  for (;;) {
    osDelayUntil(osKernelGetTickCount() + pdMS_TO_TICKS((uint32_t) (deltaT * 1000)));
    tx += deltaT;
    ty += deltaT;
    if (tx > T) tx -= T;
    if (ty > T) ty -= T;
    targetThetaX = sinf(M_PI * 2.0f * tx / T + phiX) * vPeekX;
    targetThetaY = sinf(M_PI * 2.0f * ty / T + phiY) * vPeekY;
  }
  /* USER CODE END StartPeriodControlTask */
}

 /**
  * @brief  Period elapsed callback in non blocking mode
  * @note   This function is called  when TIM11 interrupt took place, inside
  * HAL_TIM_IRQHandler(). It makes a direct call to HAL_IncTick() to increment
  * a global variable "uwTick" used as application time base.
  * @param  htim : TIM handle
  * @retval None
  */
void HAL_TIM_PeriodElapsedCallback(TIM_HandleTypeDef *htim)
{
  if (htim->Instance == TIM11) {
    HAL_IncTick();
  }
}

void Error_Handler(void)
{
  __disable_irq();
  while (1) {
  }
}

/************************ (C) COPYRIGHT STMicroelectronics *****END OF FILE****/
